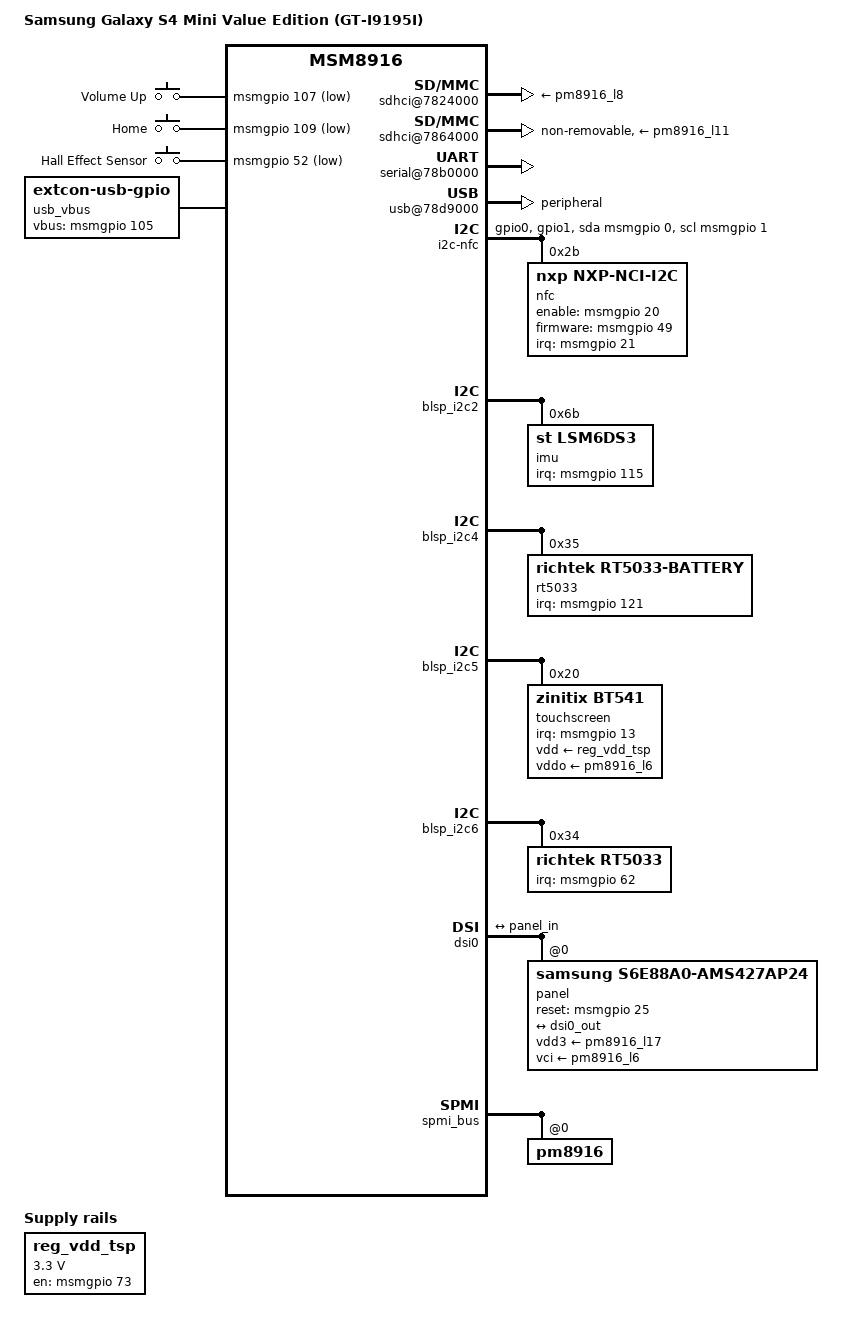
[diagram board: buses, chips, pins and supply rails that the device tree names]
// SPDX-License-Identifier: GPL-2.0-only

/dts-v1/;

#include "arm64/qcom/msm8916.dtsi"
#include "arm64/qcom/pm8916.dtsi"
#include "qcom-msm8916-no-psci.dtsi"
#include <dt-bindings/gpio/gpio.h>
#include <dt-bindings/input/input.h>
#include <dt-bindings/interrupt-controller/irq.h>
#include <dt-bindings/sound/apq8016-lpass.h>

/ {
	model = "Samsung Galaxy S4 Mini Value Edition (GT-I9195I)";
	compatible = "samsung,serranovelte", "qcom,msm8916";

	aliases {
		serial0 = &blsp1_uart2;
	};

	chosen {
		stdout-path = "serial0";
	};

	soc {
		sdhci@7824000 {
			status = "okay";

			vmmc-supply = <&pm8916_l8>;
			vqmmc-supply = <&pm8916_l5>;

			pinctrl-names = "default", "sleep";
			pinctrl-0 = <&sdc1_clk_on &sdc1_cmd_on &sdc1_data_on>;
			pinctrl-1 = <&sdc1_clk_off &sdc1_cmd_off &sdc1_data_off>;
		};

		sdhci@7864000 {
			status = "okay";

			vmmc-supply = <&pm8916_l11>;
			vqmmc-supply = <&pm8916_l12>;

			pinctrl-names = "default", "sleep";

			pinctrl-0 = <&sdc2_clk_on &sdc2_cmd_on &sdc2_data_on>;
			pinctrl-1 = <&sdc2_clk_off &sdc2_cmd_off &sdc2_data_off>;

			non-removable;
		};

		serial@78b0000 {
			status = "okay";
			pinctrl-names = "default", "sleep";
			pinctrl-0 = <&blsp1_uart2_default>;
			pinctrl-1 = <&blsp1_uart2_sleep>;
		};

		usb@78d9000 {
			status = "okay";
			dr_mode = "peripheral";
			extcon = <&usb_vbus>;

			hnp-disable;
			srp-disable;
			adp-disable;

			ulpi {
				phy {
					extcon = <&usb_vbus>;
					v1p8-supply = <&pm8916_l7>;
					v3p3-supply = <&pm8916_l13>;
				};
			};
		};

		lpass@7708000 {
			status = "okay";
		};

		sound {
			compatible = "qcom,apq8016-sbc-sndcard";
			reg = <0x07702000 0x4>, <0x07702004 0x4>;
			reg-names = "mic-iomux", "spkr-iomux";

			pinctrl-names = "default", "sleep";
			pinctrl-0 = <&cdc_pdm_lines_act>;
			pinctrl-1 = <&cdc_pdm_lines_sus>;

			qcom,model = "msm8916";
			qcom,audio-routing =
				"AMIC1", "MIC BIAS External1",
				"AMIC2", "MIC BIAS Internal2",
				"AMIC3", "MIC BIAS External1";

			internal-codec-playback-dai-link@0 {
				link-name = "WCD";
				cpu {
					sound-dai = <&lpass MI2S_PRIMARY>;
				};
				codec {
					sound-dai = <&lpass_codec 0>, <&wcd_codec 0>;
				};
			};

			internal-codec-capture-dai-link@0 {
				link-name = "WCD-Capture";
				cpu {
					sound-dai = <&lpass MI2S_TERTIARY>;
				};
				codec {
					sound-dai = <&lpass_codec 1>, <&wcd_codec 1>;
				};
			};
		};

		wcnss@a21b000 {
			status = "okay";

			iris {
				compatible = "qcom,wcn3680";
			};
		};

		mdss@1a00000 {
			dsi@1a98000 {
				#address-cells = <1>;
				#size-cells = <0>;

				vdda-supply = <&pm8916_l2>;
				vddio-supply = <&pm8916_l6>;

				pinctrl-names = "default", "sleep";
				pinctrl-0 = <&pmx_mdss_default>;
				pinctrl-1 = <&pmx_mdss_sleep>;
			};

			dsi-phy@1a98300 {
				vddio-supply = <&pm8916_l6>;
			};
		};
	};

	gpio-keys {
		compatible = "gpio-keys";

		pinctrl-names = "default";
		pinctrl-0 = <&gpio_keys_default>;

		label = "GPIO Buttons";

		volume-up {
			label = "Volume Up";
			gpios = <&msmgpio 107 GPIO_ACTIVE_LOW>;
			linux,code = <KEY_VOLUMEUP>;
		};

		home {
			label = "Home";
			gpios = <&msmgpio 109 GPIO_ACTIVE_LOW>;
			linux,code = <KEY_HOMEPAGE>;
		};
	};

	gpio-hall-sensor {
		compatible = "gpio-keys";

		pinctrl-names = "default";
		pinctrl-0 = <&gpio_hall_sensor_default>;

		label = "GPIO Hall Effect Sensor";

		hall-sensor {
			label = "Hall Effect Sensor";
			gpios = <&msmgpio 52 GPIO_ACTIVE_LOW>;
			linux,input-type = <EV_SW>;
			linux,code = <SW_LID>;
			linux,can-disable;
		};
	};

	reg_vdd_tsp: regulator-vdd-tsp {
		compatible = "regulator-fixed";
		regulator-name = "vdd_tsp";
		regulator-min-microvolt = <3300000>;
		regulator-max-microvolt = <3300000>;

		gpio = <&msmgpio 73 0>;
		enable-active-high;

		pinctrl-names = "default";
		pinctrl-0 = <&tsp_en_default>;
	};

	i2c-nfc {
		compatible = "i2c-gpio";
		sda-gpios = <&msmgpio 0 (GPIO_ACTIVE_HIGH|GPIO_OPEN_DRAIN)>;
		scl-gpios = <&msmgpio 1 (GPIO_ACTIVE_HIGH|GPIO_OPEN_DRAIN)>;

		pinctrl-names = "default";
		pinctrl-0 = <&nfc_i2c_default>;

		#address-cells = <1>;
		#size-cells = <0>;

		nfc@2b {
			compatible = "nxp,nxp-nci-i2c";

			reg = <0x2b>;
			interrupt-parent = <&msmgpio>;
			interrupts = <21 IRQ_TYPE_EDGE_RISING>;

			enable-gpios = <&msmgpio 20 GPIO_ACTIVE_HIGH>;
			firmware-gpios = <&msmgpio 49 GPIO_ACTIVE_HIGH>;

			pinctrl-names = "default";
			pinctrl-0 = <&nfc_default &nfc_int_default>;
		};
	};

	// FIXME: Use extcon device provided by MUIC driver when available
	usb_vbus: usb-vbus {
		compatible = "linux,extcon-usb-gpio";
		vbus-gpio = <&msmgpio 105 GPIO_ACTIVE_HIGH>;
	};
};

&blsp_i2c2 {
	status = "okay";

	imu@6b {
		compatible = "st,lsm6ds3";
		reg = <0x6b>;

		interrupt-parent = <&msmgpio>;
		interrupts = <115 IRQ_TYPE_EDGE_RISING>;

		pinctrl-names = "default";
		pinctrl-0 = <&imu_int_default>;
	};
};

&blsp_i2c4 {
	status = "okay";

	rt5033@35 {
		compatible = "richtek,rt5033-battery";
		reg = <0x35>;

		interrupt-parent = <&msmgpio>;
		interrupts = <121 IRQ_TYPE_EDGE_BOTH>;

		pinctrl-names = "default";
		pinctrl-0 = <&fg_alert_default>;
	};
};

&blsp_i2c5 {
	status = "okay";

	touchscreen@20 {
		compatible = "zinitix,bt541";
		reg = <0x20>;

		interrupt-parent = <&msmgpio>;
		interrupts = <13 IRQ_TYPE_EDGE_FALLING>;

		touchscreen-size-x = <540>;
		touchscreen-size-y = <960>;

		vdd-supply = <&reg_vdd_tsp>;
		vddo-supply = <&pm8916_l6>;

		pinctrl-names = "default";
		pinctrl-0 = <&tsp_int_default>;
	};
};

&blsp_i2c6 {
	status = "okay";

	rt5033@34 {
		compatible = "richtek,rt5033";
		reg = <0x34>;

		interrupt-parent = <&msmgpio>;
		interrupts = <62 IRQ_TYPE_EDGE_FALLING>;

		pinctrl-names = "default";
		pinctrl-0 = <&pmic_int_default>;
	};
};

&dsi0 {
	panel@0 {
		compatible = "samsung,s6e88a0-ams427ap24";
		reg = <0>;

		vdd3-supply = <&pm8916_l17>;
		vci-supply = <&pm8916_l6>;
		reset-gpios = <&msmgpio 25 GPIO_ACTIVE_HIGH>;

		ports {
			#address-cells = <1>;
			#size-cells = <0>;

			port@0 {
				reg = <0>;
				panel_in: endpoint {
					remote-endpoint = <&dsi0_out>;
				};
			};
		};
	};

	ports {
		port@1 {
			endpoint {
				remote-endpoint = <&panel_in>;
				data-lanes = <0 1>;
			};
		};
	};
};

&msmgpio {
	fg_alert_default: fg_alert_default {
		pinmux {
			function = "gpio";
			pins = "gpio121";
		};
		pinconf {
			pins = "gpio121";
			drive-strength = <2>;
			bias-disable;
		};
	};

	gpio_keys_default: gpio_keys_default {
		pinmux {
			function = "gpio";
			pins = "gpio107", "gpio109";
		};
		pinconf {
			pins = "gpio107", "gpio109";
			drive-strength = <2>;
			bias-pull-up;
		};
	};

	gpio_hall_sensor_default: gpio_hall_sensor_default {
		pinmux {
			function = "gpio";
			pins = "gpio52";
		};
		pinconf {
			pins = "gpio52";
			drive-strength = <2>;
			bias-disable;
		};
	};

	imu_int_default: imu_int_default {
		pinmux {
			function = "gpio";
			pins = "gpio115";
		};
		pinconf {
			pins = "gpio115";
			drive-strength = <2>;
			bias-disable;
		};
	};

	nfc_default: nfc_default {
		pinmux {
			function = "gpio";
			pins = "gpio20", "gpio49";
		};
		pinconf {
			pins = "gpio20", "gpio49";
			drive-strength = <2>;
			bias-pull-down;
		};
	};

	nfc_i2c_default: nfc_i2c_default {
		pinmux {
			function = "gpio";
			pins = "gpio0", "gpio1";
		};
		pinconf {
			pins = "gpio0", "gpio1";
			drive-strength = <2>;
			bias-disable;
		};
	};

	nfc_int_default: nfc_int_default {
		pinmux {
			function = "gpio";
			pins = "gpio21";
		};
		pinconf {
			pins = "gpio21";
			drive-strength = <2>;
			bias-pull-down;
		};
	};

	pmic_int_default: if_pmic_int_default {
		pinmux {
			function = "gpio";
			pins = "gpio62";
		};
		pinconf {
			pins = "gpio62";
			drive-strength = <2>;
			bias-disable;
		};
	};

	pmx_mdss_default: pmx_mdss_default {
		pinmux {
			function = "gpio";
			pins = "gpio25";
		};
		pinconf {
			pins = "gpio25";
			drive-strength = <8>;
			bias-disable;
		};
	};

	pmx_mdss_sleep: pmx_mdss_sleep {
		pinmux {
			function = "gpio";
			pins = "gpio25";
		};
		pinconf {
			pins = "gpio25";
			drive-strength = <2>;
			bias-pull-down;
		};
	};

	tsp_en_default: tsp_en_default {
		pinmux {
			function = "gpio";
			pins = "gpio73";
		};
		pinconf {
			pins = "gpio73";
			drive-strength = <2>;
			bias-disable;
		};
	};

	tsp_int_default: tsp_int_default {
		pinmux {
			function = "gpio";
			pins = "gpio13";
		};
		pinconf {
			pins = "gpio13";
			drive-strength = <2>;
			bias-disable;
		};
	};
};

&smd_rpm_regulators {
	vdd_l1_l2_l3-supply = <&pm8916_s3>;
	vdd_l4_l5_l6-supply = <&pm8916_s4>;
	vdd_l7-supply = <&pm8916_s4>;

	s1 {
		regulator-min-microvolt = <500000>;
		regulator-max-microvolt = <1300000>;
	};

	s3 {
		regulator-min-microvolt = <1200000>;
		regulator-max-microvolt = <1300000>;
	};

	s4 {
		regulator-min-microvolt = <1800000>;
		regulator-max-microvolt = <2100000>;
	};

	l1 {
		regulator-min-microvolt = <1225000>;
		regulator-max-microvolt = <1225000>;
	};

	l2 {
		regulator-min-microvolt = <1200000>;
		regulator-max-microvolt = <1200000>;
	};

	l3 {
		regulator-min-microvolt = <500000>;
		regulator-max-microvolt = <1287500>;
	};

	l4 {
		regulator-min-microvolt = <2050000>;
		regulator-max-microvolt = <2050000>;
	};

	l5 {
		regulator-min-microvolt = <1800000>;
		regulator-max-microvolt = <1800000>;
	};

	l6 {
		regulator-min-microvolt = <1800000>;
		regulator-max-microvolt = <1800000>;
	};

	l7 {
		regulator-min-microvolt = <1800000>;
		regulator-max-microvolt = <1800000>;
	};

	l8 {
		regulator-min-microvolt = <2850000>;
		regulator-max-microvolt = <2900000>;
	};

	l9 {
		regulator-min-microvolt = <3300000>;
		regulator-max-microvolt = <3300000>;
	};

	l10 {
		regulator-min-microvolt = <2700000>;
		regulator-max-microvolt = <2800000>;
	};

	l11 {
		regulator-min-microvolt = <1800000>;
		regulator-max-microvolt = <2950000>;
		regulator-allow-set-load;
		regulator-system-load = <200000>;
	};

	l12 {
		regulator-min-microvolt = <1800000>;
		regulator-max-microvolt = <2950000>;
	};

	l13 {
		regulator-min-microvolt = <3075000>;
		regulator-max-microvolt = <3075000>;
	};

	l14 {
		regulator-min-microvolt = <1800000>;
		regulator-max-microvolt = <3300000>;
	};

	l15 {
		regulator-min-microvolt = <1800000>;
		regulator-max-microvolt = <3300000>;
	};

	l16 {
		regulator-min-microvolt = <1800000>;
		regulator-max-microvolt = <3300000>;
	};

	l17 {
		regulator-min-microvolt = <2850000>;
		regulator-max-microvolt = <2850000>;
	};

	l18 {
		regulator-min-microvolt = <2700000>;
		regulator-max-microvolt = <2700000>;
	};
};

&spmi_bus {
	pm8916@0 {
		pon@800 {
			volume-down {
				compatible = "qcom,pm8941-resin";
				interrupts = <0x0 0x8 1 IRQ_TYPE_EDGE_BOTH>;
				bias-pull-up;
				linux,code = <KEY_VOLUMEDOWN>;
			};
		};
	};
};
